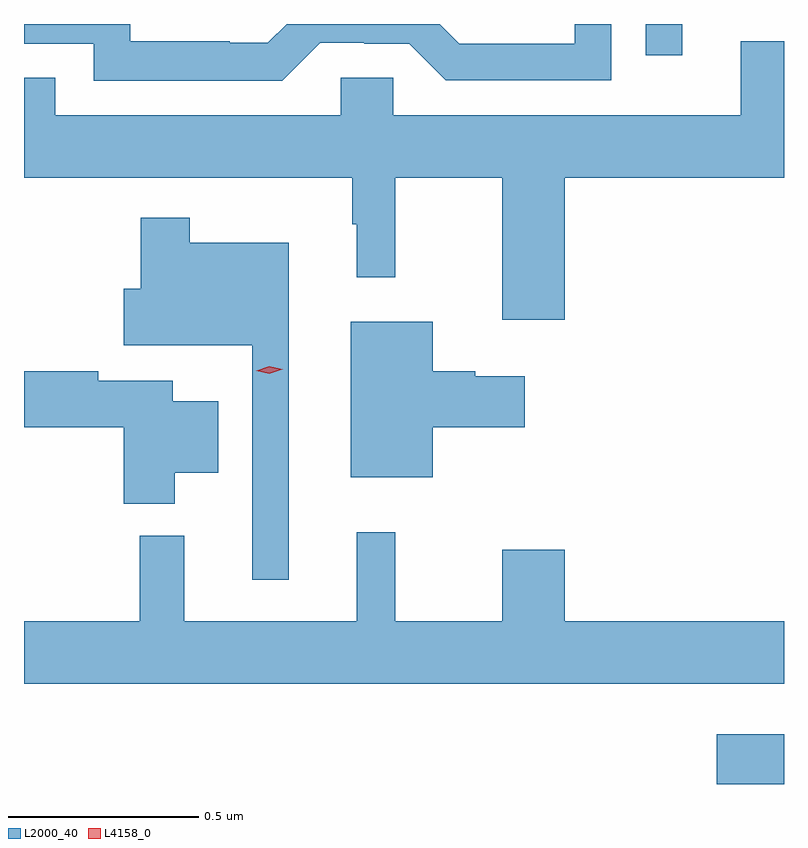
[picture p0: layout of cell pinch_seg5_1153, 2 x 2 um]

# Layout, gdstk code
import gdstk
lib = gdstk.Library(unit=1e-6, precision=1e-09)
def R(c, l, rs):  # rectangles x0, y0, x1, y1
    for r in rs: c.add(gdstk.rectangle(r[:2], r[2:], *l))
def P(c, l, *ps):  # polygons
    for p in ps: c.add(gdstk.Polygon(p, *l))
L2000_40 = (2000, 40)
L4158_0 = (4158, 0)

pinch_seg5_1153 = lib.new_cell('pinch_seg5_1153')
R(pinch_seg5_1153, L2000_40, [(800.936,845.84,801.113,845.971), (800.749,847.758,800.845,847.84)])
P(pinch_seg5_1153, L2000_40, [(799.893,847.791),(800.009,847.791),(800.009,847.788),(800.127,847.788),(800.223,847.692),(800.658,847.692),(800.658,847.84),(800.562,847.84),(800.562,847.788),(800.259,847.788),(800.207,847.84),(799.804,847.84),(799.755,847.791),(799.655,847.791),(799.655,847.795),(799.392,847.795),(799.392,847.84),(799.113,847.84),(799.113,847.788),(799.296,847.788),(799.296,847.691),(799.793,847.691)],
  [(800.536,847.436),(801.113,847.436),(801.113,847.795),(800.999,847.795),(800.999,847.6),(800.085,847.6),(800.085,847.698),(799.947,847.698),(799.947,847.6),(799.195,847.6),(799.195,847.699),(799.113,847.699),(799.113,847.436),(799.977,847.436),(799.977,847.313),(799.988,847.313),(799.988,847.173),(800.09,847.173),(800.09,847.436),(800.372,847.436),(800.372,847.062),(800.536,847.062)],
  [(799.81,847.264),(799.549,847.264),(799.549,847.33),(799.42,847.33),(799.42,847.143),(799.376,847.143),(799.376,846.995),(799.713,846.995),(799.713,846.378),(799.81,846.378)],
  [(800.188,846.779),(800.431,846.779),(800.431,846.913),(800.301,846.913),(800.301,846.926),(800.188,846.926),(800.188,847.057),(799.973,847.057),(799.973,846.647),(800.188,846.647)],
  [(799.51,846.659),(799.624,846.659),(799.624,846.847),(799.504,846.847),(799.504,846.901),(799.308,846.901),(799.308,846.926),(799.113,846.926),(799.113,846.779),(799.376,846.779),(799.376,846.578),(799.51,846.578)],
  [(801.113,846.268),(800.536,846.268),(800.536,846.457),(800.372,846.457),(800.372,846.268),(800.09,846.268),(800.09,846.502),(799.988,846.502),(799.988,846.268),(799.535,846.268),(799.535,846.493),(799.417,846.493),(799.417,846.268),(799.113,846.268),(799.113,846.104),(801.113,846.104)])
P(pinch_seg5_1153, L4158_0, [(799.759,846.92),(799.724,846.928),(799.724,846.928),(799.724,846.928),(799.759,846.94),(799.794,846.931),(799.794,846.931),(799.794,846.931)])

lib.write_gds('pinch_seg5_1153.gds')
